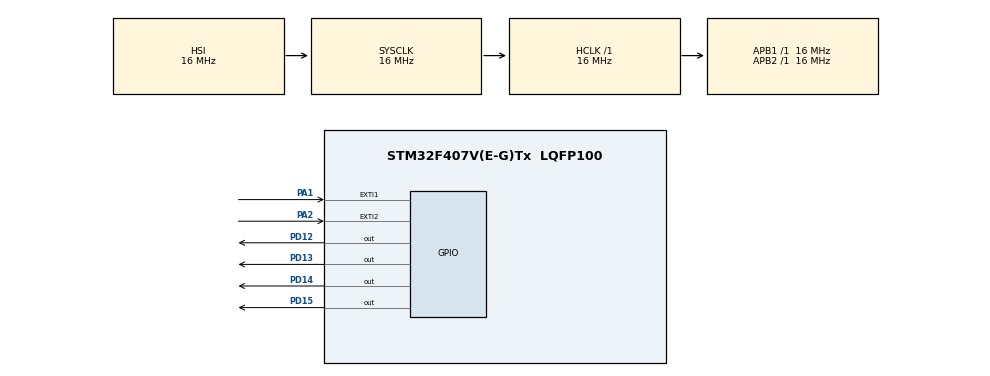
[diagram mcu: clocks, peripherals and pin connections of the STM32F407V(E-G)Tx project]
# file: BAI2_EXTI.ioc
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Mcu.Family=STM32F4
Mcu.Name=STM32F407V(E-G)Tx
Mcu.Package=LQFP100
NVIC.EXTI1_IRQn=true\:1\:0\:true\:false\:true\:true\:true\:true
NVIC.EXTI2_IRQn=true\:0\:0\:false\:false\:true\:true\:true\:true
NVIC.PriorityGroup=NVIC_PRIORITYGROUP_4
PA1.GPIO_ModeDefaultEXTI=GPIO_MODE_IT_FALLING
PA1.Signal=GPXTI1
PA13.Mode=Serial_Wire
PA13.Signal=SYS_JTMS-SWDIO
PA14.Mode=Serial_Wire
PA14.Signal=SYS_JTCK-SWCLK
PA2.GPIO_ModeDefaultEXTI=GPIO_MODE_IT_FALLING
PA2.Signal=GPXTI2
PD12.Signal=GPIO_Output
PD13.Signal=GPIO_Output
PD14.Signal=GPIO_Output
PD15.Signal=GPIO_Output
ProjectManager.HeapSize=0x200
ProjectManager.StackSize=0x400
ProjectManager.TargetToolchain=STM32CubeIDE
RCC.AHBFreq_Value=16000000
RCC.APB1Freq_Value=16000000
RCC.APB2Freq_Value=16000000
RCC.CortexFreq_Value=16000000
RCC.HSE_VALUE=25000000
RCC.HSI_VALUE=16000000
RCC.LSE_VALUE=32768
RCC.SYSCLKFreq_VALUE=16000000
RCC.VCOOutputFreq_Value=192000000
board=custom

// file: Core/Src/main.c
/* USER CODE BEGIN Header */
/**
  ******************************************************************************
  * @file           : main.c
  * @brief          : Main program body
  ******************************************************************************
  * @attention
  *
  * Copyright (c) 2025 STMicroelectronics.
  * All rights reserved.
  *
  * This software is licensed under terms that can be found in the LICENSE file
  * in the root directory of this software component.
  * If no LICENSE file comes with this software, it is provided AS-IS.
  *
  ******************************************************************************
  */
/* USER CODE END Header */
#include "main.h"

/* USER CODE BEGIN PV */
volatile uint8_t eff_num = 0;

volatile uint32_t irs_time = 0;
uint16_t LED[4] = {GPIO_PIN_12, GPIO_PIN_13, GPIO_PIN_14, GPIO_PIN_15};
volatile uint32_t warning_time = 10000;
volatile uint8_t warning_stt = 0;
/* USER CODE END PV */

void SystemClock_Config(void);
static void MX_GPIO_Init(void);

/* USER CODE BEGIN 0 */
void HAL_GPIO_EXTI_Callback(uint16_t GPIO_Pin){
	uint32_t curr_time = HAL_GetTick();
	if (curr_time - irs_time <= 200) return;
	if (GPIO_Pin == GPIO_PIN_1){
		if (warning_stt == 0){
			eff_num++;
			if (eff_num > 1) eff_num = 0;
		}
	}
	else if (GPIO_Pin == GPIO_PIN_2){
		warning_stt = 1;
	}
}

void HAL_SYSYICK_Callback(){
	if (warning_stt == 1){
		warning_time--;
		if (warning_time <= 0) {
			warning_stt = 0;
			warning_time = 10000;
		}
	}
}

void Effect_1(){
	static uint8_t count = 0;
	HAL_Delay(500);
	if (count > 3){
		for (int i = 0; i < 4; i++)
			HAL_GPIO_WritePin(GPIOD, LED[i], GPIO_PIN_RESET);
		count = 0;
	}
	else {
		HAL_GPIO_WritePin(GPIOD, LED[count], GPIO_PIN_SET);
		count++;
	}
}

void Effect_2(){
	static uint8_t count = 0;
	HAL_Delay(500);
	if (count > 3) count = 0;
	for (int i = 0; i < 4; i++)
		HAL_GPIO_WritePin(GPIOD, LED[i], GPIO_PIN_RESET);
	HAL_GPIO_WritePin(GPIOD, LED[count], GPIO_PIN_SET);
	count++;
}

void Warning(){
	for (int i = 0; i < 4; i++)
		HAL_GPIO_WritePin(GPIOD, LED[i], GPIO_PIN_SET);
	HAL_Delay(500);
	for (int i = 0; i < 4; i++)
			HAL_GPIO_WritePin(GPIOD, LED[i], GPIO_PIN_RESET);
	HAL_Delay(500);
}

typedef void (*Effect_LED)();
Effect_LED eff_led[3] = {Effect_1, Effect_2,Warning};
/* USER CODE END 0 */

int main(void)
{

  /* MCU Configuration--------------------------------------------------------*/

  /* Reset of all peripherals, Initializes the Flash interface and the Systick. */
  HAL_Init();

  /* Configure the system clock */
  SystemClock_Config();

  /* Initialize all configured peripherals */
  MX_GPIO_Init();

  /* Infinite loop */
  /* USER CODE BEGIN WHILE */
  while (1)
  {
	  if (warning_stt == 0){
		  eff_led[eff_num]();
	  }
	  else {
		  eff_led[2]();
	  }
    /* USER CODE END WHILE */

  }
}

void SystemClock_Config(void)
{
  RCC_OscInitTypeDef RCC_OscInitStruct = {0};
  RCC_ClkInitTypeDef RCC_ClkInitStruct = {0};

  /** Configure the main internal regulator output voltage
  */
  __HAL_RCC_PWR_CLK_ENABLE();
  __HAL_PWR_VOLTAGESCALING_CONFIG(PWR_REGULATOR_VOLTAGE_SCALE1);

  /** Initializes the RCC Oscillators according to the specified parameters
  * in the RCC_OscInitTypeDef structure.
  */
  RCC_OscInitStruct.OscillatorType = RCC_OSCILLATORTYPE_HSI;
  RCC_OscInitStruct.HSIState = RCC_HSI_ON;
  RCC_OscInitStruct.HSICalibrationValue = RCC_HSICALIBRATION_DEFAULT;
  RCC_OscInitStruct.PLL.PLLState = RCC_PLL_NONE;
  if (HAL_RCC_OscConfig(&RCC_OscInitStruct) != HAL_OK)
  {
    Error_Handler();
  }

  /** Initializes the CPU, AHB and APB buses clocks
  */
  RCC_ClkInitStruct.ClockType = RCC_CLOCKTYPE_HCLK|RCC_CLOCKTYPE_SYSCLK
                              |RCC_CLOCKTYPE_PCLK1|RCC_CLOCKTYPE_PCLK2;
  RCC_ClkInitStruct.SYSCLKSource = RCC_SYSCLKSOURCE_HSI;
  RCC_ClkInitStruct.AHBCLKDivider = RCC_SYSCLK_DIV1;
  RCC_ClkInitStruct.APB1CLKDivider = RCC_HCLK_DIV1;
  RCC_ClkInitStruct.APB2CLKDivider = RCC_HCLK_DIV1;

  if (HAL_RCC_ClockConfig(&RCC_ClkInitStruct, FLASH_LATENCY_0) != HAL_OK)
  {
    Error_Handler();
  }
}

static void MX_GPIO_Init(void)
{
  GPIO_InitTypeDef GPIO_InitStruct = {0};

  /* GPIO Ports Clock Enable */
  __HAL_RCC_GPIOA_CLK_ENABLE();
  __HAL_RCC_GPIOD_CLK_ENABLE();

  /*Configure GPIO pin Output Level */
  HAL_GPIO_WritePin(GPIOD, GPIO_PIN_12|GPIO_PIN_13|GPIO_PIN_14|GPIO_PIN_15, GPIO_PIN_RESET);

  /*Configure GPIO pins : PA1 PA2 */
  GPIO_InitStruct.Pin = GPIO_PIN_1|GPIO_PIN_2;
  GPIO_InitStruct.Mode = GPIO_MODE_IT_FALLING;
  GPIO_InitStruct.Pull = GPIO_NOPULL;
  HAL_GPIO_Init(GPIOA, &GPIO_InitStruct);

  /*Configure GPIO pins : PD12 PD13 PD14 PD15 */
  GPIO_InitStruct.Pin = GPIO_PIN_12|GPIO_PIN_13|GPIO_PIN_14|GPIO_PIN_15;
  GPIO_InitStruct.Mode = GPIO_MODE_OUTPUT_PP;
  GPIO_InitStruct.Pull = GPIO_NOPULL;
  GPIO_InitStruct.Speed = GPIO_SPEED_FREQ_LOW;
  HAL_GPIO_Init(GPIOD, &GPIO_InitStruct);

  /* EXTI interrupt init*/
  HAL_NVIC_SetPriority(EXTI1_IRQn, 1, 0);
  HAL_NVIC_EnableIRQ(EXTI1_IRQn);

  HAL_NVIC_SetPriority(EXTI2_IRQn, 0, 0);
  HAL_NVIC_EnableIRQ(EXTI2_IRQn);

}

void Error_Handler(void)
{
  __disable_irq();
  while (1)
  {
  }
}
